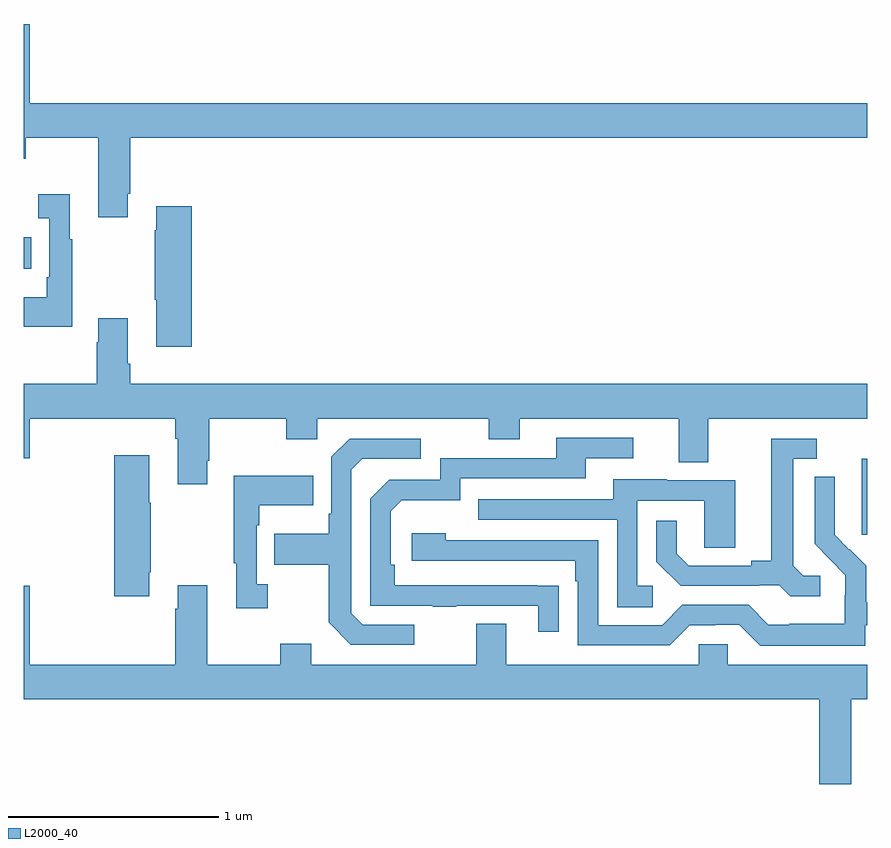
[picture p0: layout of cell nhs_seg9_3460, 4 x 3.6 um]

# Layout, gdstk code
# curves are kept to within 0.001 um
import gdstk
lib = gdstk.Library(unit=1e-6, precision=1e-09)
def R(c, l, rs):  # rectangles x0, y0, x1, y1
    for r in rs: c.add(gdstk.rectangle(r[:2], r[2:], *l))
def P(c, l, *ps):  # polygons
    for p in ps: c.add(gdstk.Polygon(p, *l))
L2000_40 = (2000, 40)

nhs_seg9_3460 = lib.new_cell('nhs_seg9_3460')
R(nhs_seg9_3460, L2000_40, [(312.974,1175.889,313,1176.25), (309,1177.151,309.035,1177.299)])
P(nhs_seg9_3460, L2000_40, [(309.493,1177.507),(309.506,1177.507),(309.506,1177.772),(313,1177.772),(313,1177.936),(309.028,1177.936),(309.028,1178.311),(309,1178.311),(309,1177.673),(309.009,1177.673),(309.009,1177.772),(309.353,1177.772),(309.353,1177.395),(309.493,1177.395)],
  [(309.229,1177.291),(309.217,1177.291),(309.217,1177.504),(309.069,1177.504),(309.069,1177.391),(309.12,1177.391),(309.12,1177.111),(309.108,1177.111),(309.108,1177.015),(309,1177.015),(309,1176.875),(309.229,1176.875)],
  [(309.797,1177.447),(309.629,1177.447),(309.629,1177.334),(309.622,1177.334),(309.622,1177.003),(309.629,1177.003),(309.629,1176.78),(309.797,1176.78)],
  [(309.506,1176.7),(309.493,1176.7),(309.493,1176.916),(309.353,1176.916),(309.353,1176.803),(309.346,1176.803),(309.346,1176.604),(309,1176.604),(309,1176.252),(309.028,1176.252),(309.028,1176.44),(309.719,1176.44),(309.719,1176.344),(309.731,1176.344),(309.731,1176.129),(309.871,1176.129),(309.871,1176.241),(309.879,1176.241),(309.879,1176.44),(310.246,1176.44),(310.246,1176.341),(310.392,1176.341),(310.392,1176.44),(311.206,1176.44),(311.206,1176.341),(311.353,1176.341),(311.353,1176.44),(312.107,1176.44),(312.107,1176.232),(312.247,1176.232),(312.247,1176.44),(313,1176.44),(313,1176.604),(309.506,1176.604)],
  [(311.537,1175.648),(310.76,1175.649),(310.76,1175.746),(310.74,1175.746),(310.74,1176),(310.793,1176.053),(311.07,1176.053),(311.07,1176.156),(311.665,1176.156),(311.665,1176.252),(311.89,1176.252),(311.89,1176.348),(311.525,1176.348),(311.525,1176.252),(310.974,1176.252),(310.974,1176.15),(310.734,1176.15),(310.644,1176.06),(310.644,1175.553),(310.939,1175.553),(310.939,1175.548),(311.051,1175.548),(311.051,1175.553),(311.441,1175.553),(311.441,1175.43),(311.537,1175.43)],
  [(310.852,1175.463),(310.608,1175.463),(310.554,1175.517),(310.554,1176.198),(310.605,1176.249),(310.882,1176.249),(310.882,1176.345),(310.545,1176.345),(310.458,1176.258),(310.458,1175.989),(310.446,1175.989),(310.446,1175.893),(310.189,1175.893),(310.189,1175.746),(310.446,1175.746),(310.446,1175.473),(310.551,1175.367),(310.852,1175.367)],
  [(312.778,1175.694),(312.696,1175.694),(312.649,1175.741),(312.649,1176.249),(312.76,1176.249),(312.76,1176.345),(312.545,1176.345),(312.545,1175.765),(312.449,1175.765),(312.449,1175.742),(312.154,1175.742),(312.097,1175.799),(312.097,1175.956),(312,1175.956),(312,1175.762),(312.116,1175.646),(312.488,1175.646),(312.488,1175.649),(312.582,1175.649),(312.634,1175.597),(312.778,1175.597)],
  [(309.595,1175.71),(309.603,1175.71),(309.603,1176.041),(309.595,1176.041),(309.595,1176.265),(309.428,1176.265),(309.428,1175.598),(309.595,1175.598)],
  [(310.156,1175.654),(310.104,1175.654),(310.104,1175.933),(310.117,1175.933),(310.117,1176.029),(310.373,1176.029),(310.373,1176.169),(309.996,1176.169),(309.996,1175.753),(310.007,1175.753),(310.007,1175.541),(310.156,1175.541)],
  [(312.99,1175.46),(313,1175.46),(313,1175.569),(312.995,1175.569),(312.995,1175.743),(312.918,1175.82),(312.915,1175.817),(312.845,1175.888),(312.846,1176.164),(312.75,1176.164),(312.75,1175.846),(312.896,1175.698),(312.896,1175.601),(312.894,1175.601),(312.894,1175.467),(312.631,1175.467),(312.631,1175.463),(312.531,1175.463),(312.438,1175.556),(312.123,1175.556),(312.027,1175.46),(311.724,1175.46),(311.724,1175.862),(311,1175.862),(311,1175.896),(310.839,1175.896),(310.839,1175.766),(311.615,1175.766),(311.615,1175.669),(311.628,1175.669),(311.628,1175.364),(312.063,1175.364),(312.159,1175.46),(312.278,1175.46),(312.278,1175.463),(312.393,1175.463),(312.493,1175.363),(312.99,1175.363)],
  [(311.983,1175.646),(311.91,1175.646),(311.91,1176.051),(312.228,1176.051),(312.228,1175.827),(312.373,1175.827),(312.373,1176.147),(312.049,1176.147),(312.049,1176.151),(311.795,1176.151),(311.795,1176.057),(311.155,1176.057),(311.155,1175.961),(311.814,1175.961),(311.814,1175.545),(311.983,1175.545)],
  [(312.925,1175.108),(313,1175.108),(313,1175.272),(312.339,1175.272),(312.339,1175.37),(312.201,1175.37),(312.201,1175.272),(311.287,1175.272),(311.287,1175.467),(311.147,1175.467),(311.147,1175.272),(310.363,1175.272),(310.363,1175.371),(310.216,1175.371),(310.216,1175.272),(309.871,1175.272),(309.871,1175.65),(309.731,1175.65),(309.731,1175.537),(309.719,1175.537),(309.719,1175.272),(309.028,1175.272),(309.028,1175.647),(309,1175.647),(309,1175.108),(312.773,1175.108),(312.773,1174.707),(312.925,1174.707)])

lib.write_gds('nhs_seg9_3460.gds')
